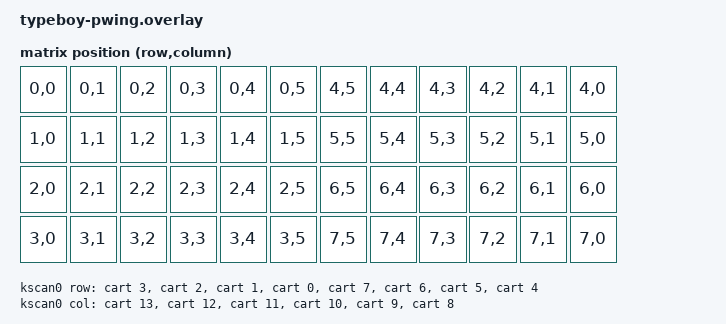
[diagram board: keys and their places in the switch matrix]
#include <dt-bindings/zmk/matrix_transform.h>
#include <dt-bindings/led/led.h>
#include <input/processors.dtsi>
#include <dt-bindings/zmk/input_transform.h>
//#include <dt-bindings/zmk/pointing.h>
#include "typeboy-pwing.dtsi"

// Define a pinctrl for the RGB LEDs.
/*&pinctrl {
    spi3_default: spi3_default {
        group1 {
            psels = <NRF_PSEL(SPIM_MOSI, 1, 0)>;
        };
    };

    spi3_sleep: spi3_sleep {
        group1 {
            psels = <NRF_PSEL(SPIM_MOSI, 1, 0)>;
            low-power-enable;
        };
    };
};*/

// RGB LEDs. Connected to Pin D26/P1.00
/*&spi3 {
    compatible = "nordic,nrf-spim";
    status = "okay";

    pinctrl-0 = <&spi3_default>;
    pinctrl-1 = <&spi3_sleep>;
    pinctrl-names = "default", "sleep";

    led_strip: ws2812@0 {
        compatible = "worldsemi,ws2812-spi";

        // SPI
        reg = <0>; // ignored, but necessary for SPI bindings
        spi-max-frequency = <4000000>;

        // WS2812
        chain-length = <48>; // number of LEDs
        spi-one-frame = <0x70>;
        spi-zero-frame = <0x40>;
        color-mapping = <LED_COLOR_ID_GREEN
                         LED_COLOR_ID_RED
                         LED_COLOR_ID_BLUE>;
    };
};*/

// Display settings.
&cart_spi {
    status = "okay";

    cs-gpios = <&cart 23 GPIO_ACTIVE_HIGH>, <&cart 16 GPIO_ACTIVE_LOW>; //, <&cart 19 GPIO_ACTIVE_LOW>, <&cart 20 GPIO_ACTIVE_LOW>;
	ls0xx: ls0xx@0 {
		compatible = "sharp,ls0xx";
		label = "DISPLAY";
		spi-max-frequency = <2000000>;
		reg = <0>;
		width = <160>;
		height = <68>;
	};

    glidepoint: glidepoint@1 {
        compatible = "cirque,pinnacle";
        reg = <1>;
        spi-max-frequency = <1000000>;
        status = "okay";
        dr-gpios = <&cart 17 (GPIO_ACTIVE_HIGH)>;

        sensitivity = "4x";
        sleep;
        //no-taps;
        //no-secondary-tap;
        x-invert;
        //y-invert;
        //rotate-90;


    };
};

&cart_serial { status = "disabled"; };

&typeboy_layout {
    transform = <&default_transform>;
};

/ {
    glidepoint_listener {
        compatible = "zmk,input-listener";
        device = <&glidepoint>;
        input-processors = <
            &zip_xy_scaler 3 1
            &zip_xy_transform (INPUT_TRANSFORM_XY_SWAP | INPUT_TRANSFORM_X_INVERT)
        >;
        scroller {
            layers = <2>;
            input-processors = <
                &zip_xy_transform (INPUT_TRANSFORM_XY_SWAP | INPUT_TRANSFORM_X_INVERT)
                &zip_xy_scaler 1 6
                &zip_xy_to_scroll_mapper
            >;
        };
    };
};

/ {
    chosen {
        zmk,kscan = &kscan0;
        zmk,physical-layout = &typeboy_layout;
		zephyr,display = &ls0xx;
        //zmk,underglow = &led_strip;
    };

    default_transform: keymap_transform_0 {
        compatible = "zmk,matrix-transform";
        columns = <6>;
        rows = <8>;

        map = <
            RC(0,0) RC(0,1) RC(0,2) RC(0,3) RC(0,4) RC(0,5) RC(4,5) RC(4,4) RC(4,3) RC(4,2) RC(4,1) RC(4,0)
            RC(1,0) RC(1,1) RC(1,2) RC(1,3) RC(1,4) RC(1,5) RC(5,5) RC(5,4) RC(5,3) RC(5,2) RC(5,1) RC(5,0)
            RC(2,0) RC(2,1) RC(2,2) RC(2,3) RC(2,4) RC(2,5) RC(6,5) RC(6,4) RC(6,3) RC(6,2) RC(6,1) RC(6,0)
            RC(3,0) RC(3,1) RC(3,2) RC(3,3) RC(3,4) RC(3,5) RC(7,5) RC(7,4) RC(7,3) RC(7,2) RC(7,1) RC(7,0)
        >;
    };

    kscan0: kscan_0 {
        compatible = "zmk,kscan-gpio-matrix";
        wakeup-source;

        diode-direction = "col2row";

        col-gpios
            = <&cart 13 GPIO_ACTIVE_HIGH>
            , <&cart 12 GPIO_ACTIVE_HIGH>
            , <&cart 11 GPIO_ACTIVE_HIGH>
            , <&cart 10 GPIO_ACTIVE_HIGH>
            , <&cart 9 GPIO_ACTIVE_HIGH>
            , <&cart 8 GPIO_ACTIVE_HIGH>
            ;

        row-gpios
            = <&cart 3 (GPIO_ACTIVE_HIGH | GPIO_PULL_DOWN)>
            , <&cart 2 (GPIO_ACTIVE_HIGH | GPIO_PULL_DOWN)>
            , <&cart 1 (GPIO_ACTIVE_HIGH | GPIO_PULL_DOWN)>
            , <&cart 0 (GPIO_ACTIVE_HIGH | GPIO_PULL_DOWN)>
            , <&cart 7 (GPIO_ACTIVE_HIGH | GPIO_PULL_DOWN)>
            , <&cart 6 (GPIO_ACTIVE_HIGH | GPIO_PULL_DOWN)>
            , <&cart 5 (GPIO_ACTIVE_HIGH | GPIO_PULL_DOWN)>
            , <&cart 4 (GPIO_ACTIVE_HIGH | GPIO_PULL_DOWN)>
            ;
    };
};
